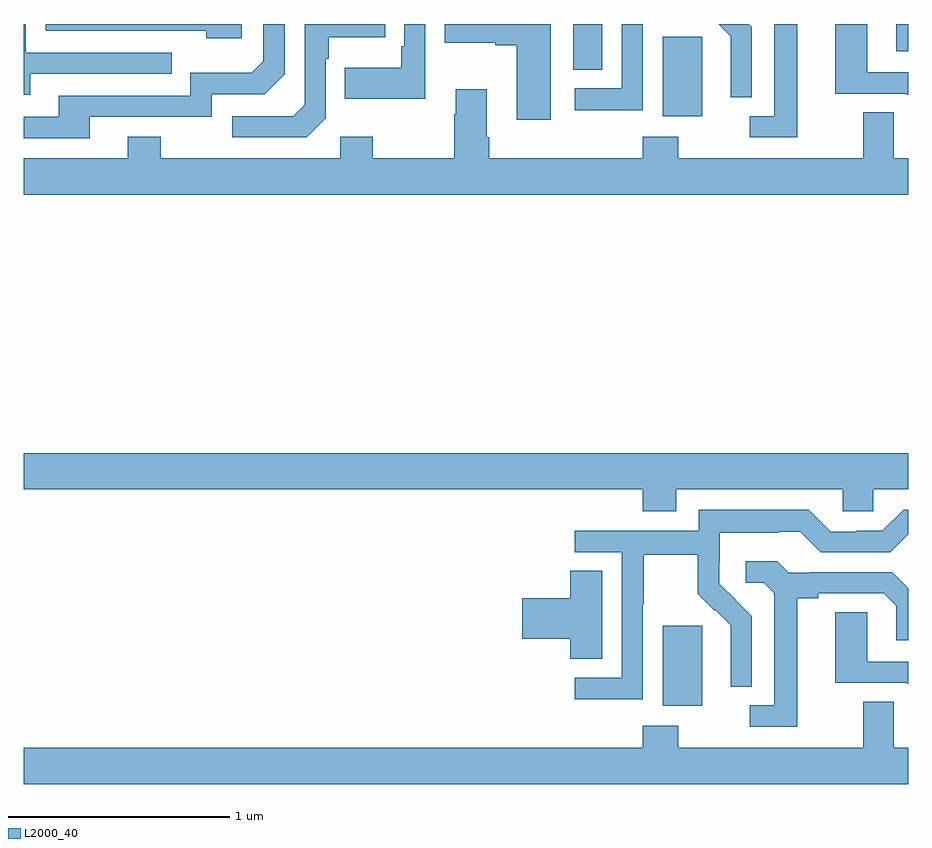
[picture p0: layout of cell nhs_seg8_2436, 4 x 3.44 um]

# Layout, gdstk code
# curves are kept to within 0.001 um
import gdstk
lib = gdstk.Library(unit=1e-6, precision=1e-09)
def R(c, l, rs):  # rectangles x0, y0, x1, y1
    for r in rs: c.add(gdstk.rectangle(r[:2], r[2:], *l))
def P(c, l, *ps):  # polygons
    for p in ps: c.add(gdstk.Polygon(p, *l))
L2000_40 = (2000, 40)

nhs_seg8_2436 = lib.new_cell('nhs_seg8_2436')
R(nhs_seg8_2436, L2000_40, [(265.889,1152.818,266.068,1153.179), (265.889,1155.482,266.068,1155.843), (265.484,1155.694,265.615,1155.9), (266.945,1155.777,267,1155.9)])
P(nhs_seg8_2436, L2000_40, [(265.384,1155.9),(264.903,1155.9),(264.903,1155.815),(265.133,1155.815),(265.133,1155.803),(265.229,1155.803),(265.229,1155.468),(265.384,1155.468)],
  [(263.986,1155.9),(263.1,1155.9),(263.1,1155.87),(263.825,1155.87),(263.825,1155.836),(263.986,1155.836)],
  [(267,1155.681),(266.814,1155.681),(266.814,1155.9),(266.669,1155.9),(266.669,1155.585),(266.993,1155.585),(266.993,1155.581),(267,1155.581)],
  [(266.292,1155.886),(266.278,1155.9),(266.142,1155.9),(266.198,1155.845),(266.198,1155.722),(266.196,1155.722),(266.196,1155.568),(266.292,1155.568)],
  [(265.8,1155.9),(265.704,1155.9),(265.704,1155.609),(265.491,1155.609),(265.491,1155.511),(265.8,1155.511)],
  [(266.497,1155.9),(266.393,1155.9),(266.393,1155.483),(266.283,1155.483),(266.283,1155.387),(266.497,1155.387)],
  [(264.366,1155.474),(264.366,1155.743),(264.379,1155.743),(264.379,1155.839),(264.635,1155.839),(264.635,1155.9),(264.27,1155.9),(264.27,1155.534),(264.219,1155.483),(263.943,1155.483),(263.943,1155.387),(264.279,1155.387)],
  [(263.029,1155.675),(263.669,1155.675),(263.669,1155.771),(263.01,1155.771),(263.01,1155.9),(263,1155.9),(263,1155.581),(263.029,1155.581)],
  [(263.299,1155.48),(263.85,1155.48),(263.85,1155.582),(264.09,1155.582),(264.18,1155.672),(264.18,1155.9),(264.084,1155.9),(264.084,1155.732),(264.031,1155.679),(263.754,1155.679),(263.754,1155.576),(263.159,1155.576),(263.159,1155.48),(263,1155.48),(263,1155.384),(263.299,1155.384)],
  [(264.816,1155.9),(264.72,1155.9),(264.72,1155.799),(264.708,1155.799),(264.708,1155.703),(264.451,1155.703),(264.451,1155.563),(264.816,1155.563)],
  [(267,1155.292),(266.935,1155.292),(266.935,1155.5),(266.795,1155.5),(266.795,1155.292),(265.959,1155.292),(265.959,1155.391),(265.799,1155.391),(265.799,1155.292),(265.106,1155.292),(265.106,1155.388),(265.093,1155.388),(265.093,1155.604),(264.953,1155.604),(264.953,1155.491),(264.946,1155.491),(264.946,1155.292),(264.579,1155.292),(264.579,1155.391),(264.432,1155.391),(264.432,1155.292),(263.619,1155.292),(263.619,1155.391),(263.471,1155.391),(263.471,1155.292),(263,1155.292),(263,1155.128),(267,1155.128)],
  [(265.951,1153.796),(266.703,1153.796),(266.703,1153.698),(266.841,1153.698),(266.841,1153.796),(267,1153.796),(267,1153.96),(263,1153.96),(263,1153.796),(265.799,1153.796),(265.799,1153.697),(265.951,1153.697)],
  [(265.8,1153.276),(265.803,1153.276),(265.803,1153.5),(266.047,1153.5),(266.047,1153.325),(266.124,1153.248),(266.127,1153.251),(266.198,1153.181),(266.198,1153.058),(266.196,1153.058),(266.196,1152.904),(266.292,1152.904),(266.292,1153.222),(266.146,1153.37),(266.146,1153.467),(266.148,1153.467),(266.148,1153.601),(266.411,1153.601),(266.411,1153.605),(266.511,1153.605),(266.604,1153.512),(266.919,1153.512),(267,1153.593),(267,1153.704),(266.979,1153.704),(266.883,1153.608),(266.765,1153.608),(266.765,1153.605),(266.649,1153.605),(266.549,1153.705),(266.052,1153.705),(266.052,1153.608),(265.491,1153.608),(265.491,1153.512),(265.704,1153.512),(265.704,1152.945),(265.491,1152.945),(265.491,1152.847),(265.8,1152.847)],
  [(266.497,1153.304),(266.593,1153.304),(266.593,1153.326),(266.888,1153.326),(266.945,1153.269),(266.945,1153.113),(267,1153.113),(267,1153.348),(266.926,1153.422),(266.554,1153.422),(266.554,1153.419),(266.46,1153.419),(266.408,1153.471),(266.265,1153.471),(266.265,1153.374),(266.346,1153.374),(266.393,1153.327),(266.393,1152.819),(266.283,1152.819),(266.283,1152.723),(266.497,1152.723)],
  [(265.615,1153.427),(265.472,1153.427),(265.472,1153.304),(265.254,1153.304),(265.254,1153.121),(265.472,1153.121),(265.472,1153.03),(265.615,1153.03)],
  [(267,1153.017),(266.814,1153.017),(266.814,1153.241),(266.669,1153.241),(266.669,1152.921),(266.993,1152.921),(266.993,1152.917),(267,1152.917)],
  [(267,1152.628),(266.935,1152.628),(266.935,1152.836),(266.795,1152.836),(266.795,1152.628),(265.959,1152.628),(265.959,1152.727),(265.799,1152.727),(265.799,1152.628),(263,1152.628),(263,1152.464),(267,1152.464)])

lib.write_gds('nhs_seg8_2436.gds')
